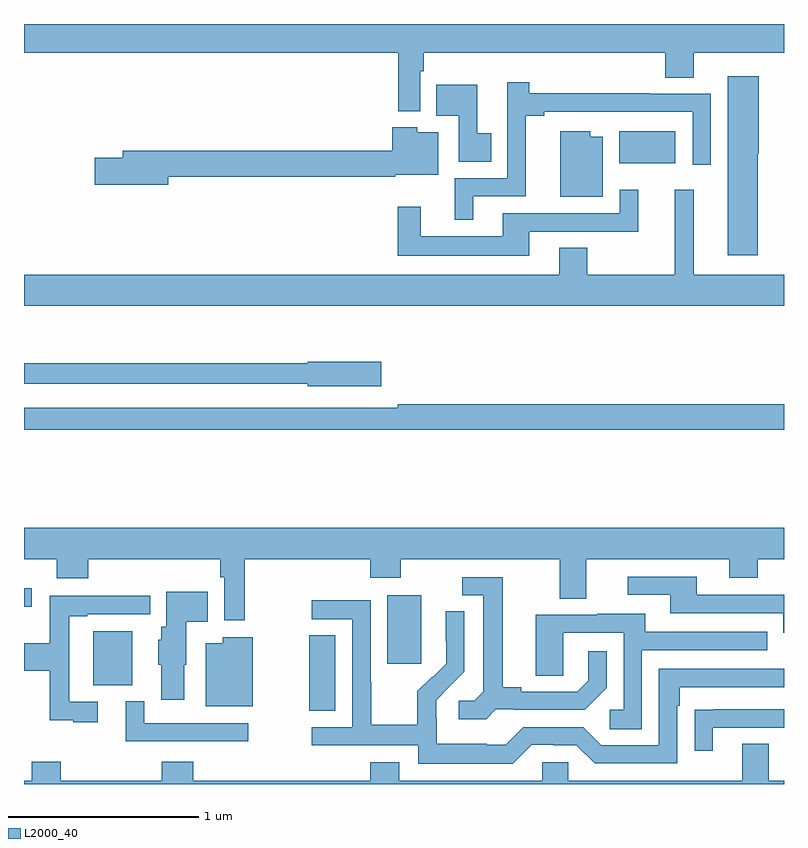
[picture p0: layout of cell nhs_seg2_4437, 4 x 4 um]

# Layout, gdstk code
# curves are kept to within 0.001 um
import gdstk
lib = gdstk.Library(unit=1e-6, precision=1e-09)
def R(c, l, rs):  # rectangles x0, y0, x1, y1
    for r in rs: c.add(gdstk.rectangle(r[:2], r[2:], *l))
def P(c, l, *ps):  # polygons
    for p in ps: c.add(gdstk.Polygon(p, *l))
L2000_40 = (2000, 40)

nhs_seg2_4437 = lib.new_cell('nhs_seg2_4437')
R(nhs_seg2_4437, L2000_40, [(352.501,632.185,352.639,632.582), (351.365,632.321,351.571,632.605), (352.913,632.433,353.092,632.794), (351,632.732,351.04,632.83), (354.134,635.066,354.427,635.236)])
P(nhs_seg2_4437, L2000_40, [(353.085,635.552),(353.105,635.552),(353.105,635.648),(354.374,635.648),(354.374,635.518),(354.526,635.518),(354.526,635.648),(355,635.648),(355,635.8),(351,635.8),(351,635.648),(352.969,635.648),(352.969,635.342),(353.085,635.342)],
  [(354.863,635.118),(354.868,635.118),(354.868,635.524),(354.704,635.524),(354.704,634.584),(354.863,634.584)],
  [(353.365,634.893),(353.642,634.893),(353.642,635.317),(353.737,635.317),(353.737,635.337),(354.519,635.337),(354.519,635.058),(354.615,635.058),(354.615,635.433),(354.29,635.433),(354.29,635.435),(353.66,635.435),(353.66,635.494),(353.544,635.494),(353.544,634.989),(353.267,634.989),(353.267,634.769),(353.365,634.769)],
  [(353.459,635.226),(353.386,635.226),(353.386,635.479),(353.17,635.479),(353.17,635.318),(353.289,635.318),(353.289,635.074),(353.459,635.074)],
  [(351.76,634.996),(352.953,634.996),(352.953,635.006),(353.179,635.006),(353.179,635.23),(353.07,635.23),(353.07,635.257),(352.937,635.257),(352.937,635.132),(351.521,635.132),(351.521,635.096),(351.372,635.096),(351.372,634.954),(351.76,634.954)],
  [(354.046,635.206),(353.98,635.206),(353.98,635.236),(353.822,635.236),(353.822,634.892),(354.046,634.892)],
  [(353.659,634.707),(354.233,634.707),(354.233,634.927),(354.135,634.927),(354.135,634.803),(353.519,634.803),(353.519,634.684),(353.089,634.684),(353.089,634.837),(352.968,634.837),(352.968,634.58),(353.659,634.58)],
  [(355,634.48),(354.524,634.48),(354.524,634.927),(354.425,634.927),(354.425,634.48),(353.964,634.48),(353.964,634.622),(353.816,634.622),(353.816,634.48),(351,634.48),(351,634.316),(355,634.316)],
  [(352.879,634.023),(352.494,634.023),(352.494,634.015),(351,634.015),(351,633.906),(352.494,633.906),(352.494,633.893),(352.879,633.893)],
  [(355,633.8),(352.966,633.8),(352.966,633.78),(351,633.78),(351,633.664),(355,633.664)],
  [(352.162,632.984),(352.823,632.984),(352.823,632.885),(352.983,632.885),(352.983,632.984),(353.819,632.984),(353.819,632.776),(353.959,632.776),(353.959,632.984),(354.713,632.984),(354.713,632.885),(354.861,632.885),(354.861,632.984),(355,632.984),(355,633.148),(351,633.148),(351,632.984),(351.173,632.984),(351.173,632.882),(351.338,632.882),(351.338,632.984),(352.033,632.984),(352.033,632.888),(352.053,632.888),(352.053,632.661),(352.162,632.661)],
  [(355,632.796),(354.541,632.796),(354.541,632.892),(354.177,632.892),(354.177,632.796),(354.401,632.796),(354.401,632.7),(354.996,632.7),(354.996,632.597),(355,632.597)],
  [(353.484,632.193),(353.578,632.193),(353.578,632.19),(353.95,632.19),(354.066,632.306),(354.066,632.5),(353.969,632.5),(353.969,632.343),(353.912,632.286),(353.617,632.286),(353.617,632.309),(353.521,632.309),(353.521,632.889),(353.307,632.889),(353.307,632.793),(353.417,632.793),(353.417,632.285),(353.37,632.238),(353.289,632.238),(353.289,632.141),(353.432,632.141)],
  [(351.844,632.427),(351.853,632.427),(351.853,632.654),(351.968,632.654),(351.968,632.812),(351.749,632.812),(351.749,632.628),(351.722,632.628),(351.722,632.559),(351.707,632.559),(351.707,632.427),(351.722,632.427),(351.722,632.244),(351.844,632.244)],
  [(351.388,632.232),(351.237,632.232),(351.237,632.682),(351.334,632.682),(351.334,632.694),(351.664,632.694),(351.664,632.792),(351.421,632.792),(351.421,632.79),(351.136,632.79),(351.136,632.542),(351,632.542),(351,632.395),(351.136,632.395),(351.136,632.135),(351.26,632.135),(351.26,632.124),(351.388,632.124)],
  [(353.673,632.007),(353.789,632.007),(353.789,632.004),(353.907,632.004),(354.003,631.908),(354.438,631.908),(354.438,632.213),(354.451,632.213),(354.451,632.31),(355,632.31),(355,632.406),(354.342,632.406),(354.342,632.004),(354.039,632.004),(353.943,632.1),(353.628,632.1),(353.535,632.007),(353.435,632.007),(353.435,632.011),(353.172,632.011),(353.172,632.145),(353.17,632.145),(353.17,632.242),(353.316,632.39),(353.316,632.708),(353.22,632.708),(353.22,632.554),(353.222,632.554),(353.222,632.432),(353.151,632.361),(353.148,632.364),(353.071,632.287),(353.071,632.113),(352.827,632.113),(352.827,632.336),(352.824,632.336),(352.824,632.766),(352.515,632.766),(352.515,632.667),(352.728,632.667),(352.728,632.1),(352.515,632.1),(352.515,632.004),(353.076,632.004),(353.076,631.907),(353.573,631.907)],
  [(354.252,632.505),(354.911,632.505),(354.911,632.601),(354.271,632.601),(354.271,632.695),(354.017,632.695),(354.017,632.691),(353.693,632.691),(353.693,632.371),(353.838,632.371),(353.838,632.595),(354.156,632.595),(354.156,632.19),(354.084,632.19),(354.084,632.089),(354.252,632.089)],
  [(352.204,632.572),(352.046,632.572),(352.046,632.542),(351.956,632.542),(351.956,632.21),(352.204,632.21)],
  [(352.18,632.121),(351.633,632.121),(351.633,632.236),(351.536,632.236),(351.536,632.025),(352.18,632.025)],
  [(354.625,632.097),(355,632.097),(355,632.193),(354.631,632.193),(354.631,632.192),(354.529,632.192),(354.529,631.974),(354.625,631.974)],
  [(355,631.816),(354.919,631.816),(354.919,632.011),(354.779,632.011),(354.779,631.816),(353.865,631.816),(353.865,631.914),(353.727,631.914),(353.727,631.816),(352.975,631.816),(352.975,631.915),(352.823,631.915),(352.823,631.816),(351.89,631.816),(351.89,631.918),(351.725,631.918),(351.725,631.816),(351.194,631.816),(351.194,631.918),(351.041,631.918),(351.041,631.816),(351,631.816),(351,631.8),(355,631.8)])

lib.write_gds('nhs_seg2_4437.gds')
